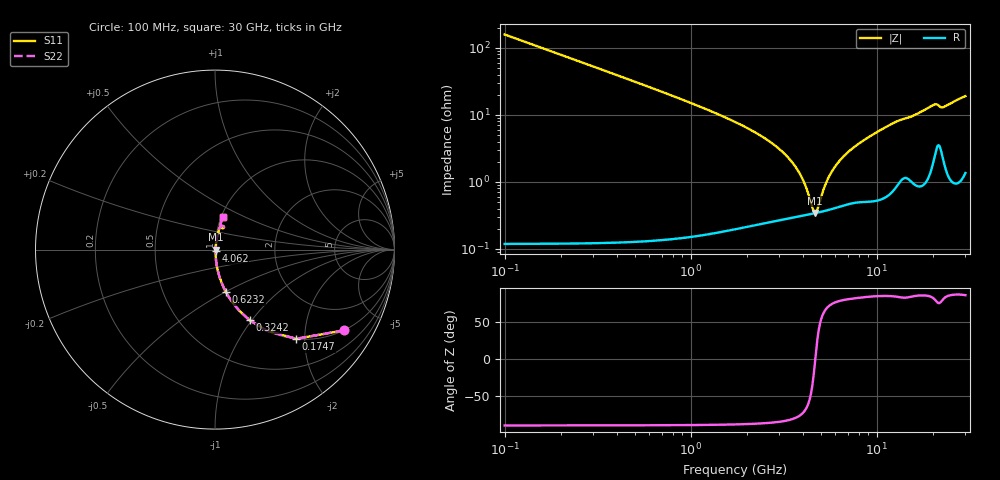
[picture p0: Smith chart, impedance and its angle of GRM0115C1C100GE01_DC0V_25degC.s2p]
!Murata Part Number: GRM0115C1C100GE01
!These Parameters are Measured in Series Mode Connection
!  o--ll--o
!Port1  Port2
!  o------o
!Operation Temp=25[degC], DC Bias Voltage=0[V]
!Freq. Start=100[MHz] Stop=30[GHz], 401[Steps]
!Data Generated on Feb 1, 2023
# Hz S RI R 50
!Freq.(Hz) S11(Real) S11(Imag) S21(Real) S21(Imag) S12(Real) S12(Imag) S22(Real) S22(Imag)
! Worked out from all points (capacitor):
!   401 points, 100 MHz to 30 GHz, reference 50 ohm
!   read as one part in series: C = 10 pF near 249.5 MHz
!   lowest |Z| = 342 mohm at 4.66 GHz (marker M1)
!   series resonance near 4.68 GHz, so ESL is about 120 pH
!   S11 on the Smith chart (normalised r, x): 100 MHz: 1.00, -3.18; 174.8 MHz: 1.00, -1.82; 324.2 MHz: 1.00, -0.98; 623.2 MHz: 1.00, -0.50; 4.062 GHz: 1.01, -0.02; 30 GHz: 1.03, +0.38
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1e8  0.7166 -0.4503  0.2834 0.4503  0.2834 0.4503  0.7166 -0.4503
1.7475e8  0.4527 -0.4971  0.5473 0.4971  0.5473 0.4971  0.4527 -0.4971
3.2425e8  0.1931 -0.3935  0.8069 0.3935  0.8069 0.3935  0.1931 -0.3935
4.7375e8  0.1003 -0.2985  0.8997 0.2985  0.8997 0.2985  0.1003 -0.2985
6.2325e8  0.0601 -0.2351  0.9399 0.2351  0.9399 0.2351  0.0601 -0.2351
9.97e8  0.0239 -0.148  0.9761 0.148  0.9761 0.148  0.0239 -0.148
1.595e9  0.00943 -0.0865  0.9906 0.0865  0.9906 0.0865  0.00943 -0.0865
3.2395e9  0.00341 -0.025  0.9966 0.025  0.9966 0.025  0.00341 -0.025
4.06175e9  0.00323 -0.00943  0.9968 0.00943  0.9968 0.00943  0.00323 -0.00943
4.51025e9  0.00334 -0.00245  0.9967 0.00245  0.9967 0.00245  0.00334 -0.00245
4.65975e9  0.0034 -0.000286  0.9966 0.000286  0.9966 0.000286  0.0034 -0.000286
4.80925e9  0.00347 0.00181  0.9965 -0.00181  0.9965 -0.00181  0.00347 0.00181
5.10825e9  0.00363 0.0058  0.9964 -0.0058  0.9964 -0.0058  0.00363 0.0058
5.70625e9  0.00407 0.0132  0.9959 -0.0132  0.9959 -0.0132  0.00407 0.0132
6.678e9  0.005 0.0238  0.995 -0.0238  0.995 -0.0238  0.005 0.0238
8.09825e9  0.00633 0.0372  0.9937 -0.0372  0.9937 -0.0372  0.00633 0.0372
1.01165e10  0.0083 0.0551  0.9917 -0.0551  0.9917 -0.0551  0.0083 0.0551
1.505e10  0.0186 0.0892  0.9814 -0.0892  0.9814 -0.0892  0.0186 0.0892
2.005825e10  0.036 0.1309  0.964 -0.1309  0.964 -0.1309  0.036 0.1309
2.2525e10  0.0388 0.1194  0.9612 -0.1194  0.9612 -0.1194  0.0388 0.1194
2.50665e10  0.0316 0.1437  0.9684 -0.1437  0.9684 -0.1437  0.0316 0.1437
3e10  0.047 0.179  0.953 -0.179  0.953 -0.179  0.047 0.179
